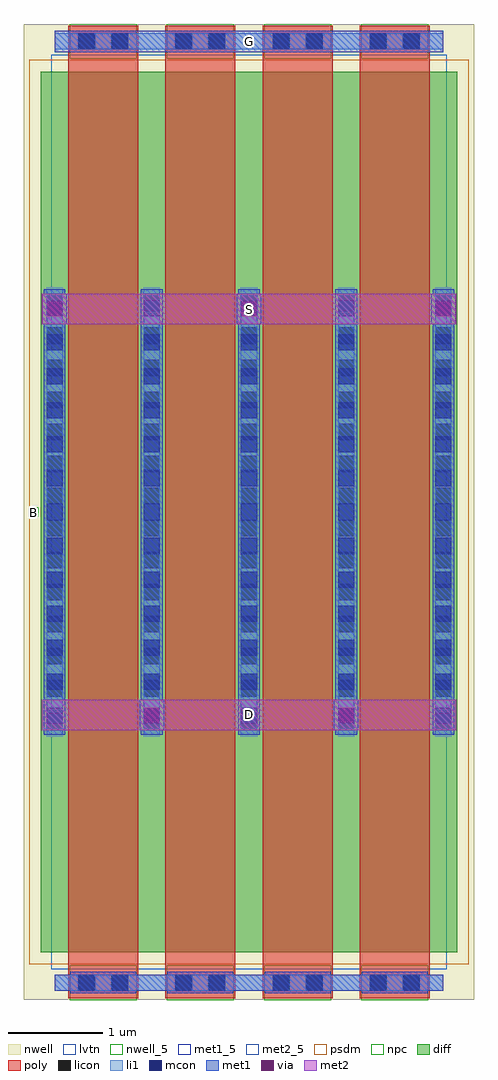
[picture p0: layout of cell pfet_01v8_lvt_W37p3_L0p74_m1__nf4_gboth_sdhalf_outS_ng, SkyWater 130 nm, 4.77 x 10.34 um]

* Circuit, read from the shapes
.subckt pfet_01v8_lvt_W37p3_L0p74_m1__nf4_gboth_sdhalf_outS_ng B D G S
XM1 D G S B sky130_fd_pr__pfet_01v8_lvt w=9.33 l=0.74 m=4
.ends

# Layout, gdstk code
import gdstk
lib = gdstk.Library(unit=1e-6, precision=1e-09)
def R(c, l, rs):  # rectangles x0, y0, x1, y1
    for r in rs: c.add(gdstk.rectangle(r[:2], r[2:], *l))
def A(c, l, x, y, w, h, nx, ny, dx, dy):  # array of equal rectangles
    R(c, l, [(x+i*dx, y+j*dy, x+i*dx+w, y+j*dy+h) for i in range(nx) for j in range(ny)])
nwell_5 = (64, 5)
nwell = (64, 20)
diff = (65, 20)
poly = (66, 20)
licon = (66, 44)
li1 = (67, 20)
mcon = (67, 44)
met1_5 = (68, 5)
met1 = (68, 20)
via = (68, 44)
met2_5 = (69, 5)
met2 = (69, 20)
psdm = (94, 20)
npc = (95, 20)
lvtn = (125, 44)

sky130_fd_pr__pfet_01v8_ = lib.new_cell('sky130_fd_pr__pfet_01v8_lvt_WKB96H')
R(sky130_fd_pr__pfet_01v8_, nwell, [(-2.385,-5.165,2.385,5.165)])
R(sky130_fd_pr__pfet_01v8_, diff, [(-2.205,-4.665,2.205,4.665)])
A(sky130_fd_pr__pfet_01v8_, poly, -1.915, -5.15, 0.74, 10.3, 4, 1, 1.03, 0)
A(sky130_fd_pr__pfet_01v8_, licon, -2.145, -2.295, 0.17, 0.17, 5, 14, 1.03, 0.34)
R(sky130_fd_pr__pfet_01v8_, licon, [(-1.8,-5.07,-1.63,-4.9), (-1.46,-5.07,-1.29,-4.9), (-0.77,-5.07,-0.6,-4.9), (-0.43,-5.07,-0.26,-4.9), (0.26,-5.07,0.43,-4.9), (0.6,-5.07,0.77,-4.9), (1.29,-5.07,1.46,-4.9), (1.63,-5.07,1.8,-4.9), (-1.8,4.9,-1.63,5.07), (-1.46,4.9,-1.29,5.07), (-0.77,4.9,-0.6,5.07), (-0.43,4.9,-0.26,5.07), (0.26,4.9,0.43,5.07), (0.6,4.9,0.77,5.07), (1.29,4.9,1.46,5.07), (1.63,4.9,1.8,5.07)])
A(sky130_fd_pr__pfet_01v8_, li1, -2.145, -2.38, 0.17, 4.76, 5, 1, 1.03, 0)
R(sky130_fd_pr__pfet_01v8_, li1, [(-2.06,-5.07,2.06,-4.9), (-2.06,4.9,2.06,5.07)])
A(sky130_fd_pr__pfet_01v8_, mcon, -2.145, -2.245, 0.17, 0.17, 5, 13, 1.03, 0.36)
R(sky130_fd_pr__pfet_01v8_, mcon, [(-1.81,-5.07,-1.64,-4.9), (-1.45,-5.07,-1.28,-4.9), (-0.78,-5.07,-0.61,-4.9), (-0.42,-5.07,-0.25,-4.9), (0.25,-5.07,0.42,-4.9), (0.61,-5.07,0.78,-4.9), (1.28,-5.07,1.45,-4.9), (1.64,-5.07,1.81,-4.9), (-1.81,4.9,-1.64,5.07), (-1.45,4.9,-1.28,5.07), (-0.78,4.9,-0.61,5.07), (-0.42,4.9,-0.25,5.07), (0.25,4.9,0.42,5.07), (0.61,4.9,0.78,5.07), (1.28,4.9,1.45,5.07), (1.64,4.9,1.81,5.07)])
A(sky130_fd_pr__pfet_01v8_, met1, -1.895, -5.1, 0.7, 0.03, 4, 2, 1.03, 0.2)
A(sky130_fd_pr__pfet_01v8_, met1, -2.175, -2.36, 0.23, 4.72, 5, 1, 1.03, 0)
A(sky130_fd_pr__pfet_01v8_, met1, -1.895, 4.87, 0.7, 0.03, 4, 2, 1.03, 0.2)
R(sky130_fd_pr__pfet_01v8_, met1, [(-2.06,-5.07,2.06,-4.9), (-2.06,4.9,2.06,5.07)])
R(sky130_fd_pr__pfet_01v8_, psdm, [(-2.33,-4.79,2.33,4.79)])
A(sky130_fd_pr__pfet_01v8_, npc, -1.9, -5.17, 0.71, 0.37, 4, 2, 1.03, 9.97)
R(sky130_fd_pr__pfet_01v8_, lvtn, [(-2.095,-4.845,2.095,4.845)])
sky130_fd_pr__pfet_01v8_.add(gdstk.Label('D0', (-2.06,0), layer=67, texttype=5))
sky130_fd_pr__pfet_01v8_.add(gdstk.Label('G', (1.545,4.985), layer=67, texttype=5))
sky130_fd_pr__pfet_01v8_.add(gdstk.Label('G', (0.515,4.985), layer=67, texttype=5))
sky130_fd_pr__pfet_01v8_.add(gdstk.Label('G', (-0.515,4.985), layer=67, texttype=5))
sky130_fd_pr__pfet_01v8_.add(gdstk.Label('G', (-1.545,4.985), layer=67, texttype=5))
sky130_fd_pr__pfet_01v8_.add(gdstk.Label('S1', (-1.03,0), layer=67, texttype=5))
sky130_fd_pr__pfet_01v8_.add(gdstk.Label('D2', (0,0), layer=67, texttype=5))
sky130_fd_pr__pfet_01v8_.add(gdstk.Label('S3', (1.03,0), layer=67, texttype=5))

pfet_01v8_lvt_w37p3_l0p7 = lib.new_cell('pfet_01v8_lvt_W37p3_L0p74_m1__nf4_gboth_sdhalf_outS_ng')
R(pfet_01v8_lvt_w37p3_l0p7, nwell_5, [(0.05,5.115,0.15,5.215)])
R(pfet_01v8_lvt_w37p3_l0p7, nwell, [(0.05,5.115,0.15,5.215)])
R(pfet_01v8_lvt_w37p3_l0p7, met1_5, [(0.325,10.035,4.445,10.265)])
A(pfet_01v8_lvt_w37p3_l0p7, met1, 0.195, 7.155, 0.26, 0.32, 3, 1, 2.06, 0)
R(pfet_01v8_lvt_w37p3_l0p7, met1, [(1.225,2.855,1.485,3.175), (3.285,2.855,3.545,3.175), (0.325,10.035,4.445,10.265)])
A(pfet_01v8_lvt_w37p3_l0p7, via, 0.25, 7.24, 0.15, 0.15, 3, 1, 2.06, 0)
R(pfet_01v8_lvt_w37p3_l0p7, via, [(1.28,2.94,1.43,3.09), (3.34,2.94,3.49,3.09)])
R(pfet_01v8_lvt_w37p3_l0p7, met2_5, [(0.19,2.855,4.58,3.175), (0.19,7.155,4.58,7.475)])
R(pfet_01v8_lvt_w37p3_l0p7, met2, [(0.19,2.855,4.58,3.175), (0.19,7.155,4.58,7.475)])
pfet_01v8_lvt_w37p3_l0p7.add(gdstk.Reference(sky130_fd_pr__pfet_01v8_, (2.385,5.165)))
pfet_01v8_lvt_w37p3_l0p7.add(gdstk.Label('S', (2.385,7.315), layer=69, texttype=5))
pfet_01v8_lvt_w37p3_l0p7.add(gdstk.Label('D', (2.385,3.015), layer=69, texttype=5))
pfet_01v8_lvt_w37p3_l0p7.add(gdstk.Label('G', (2.385,10.15), layer=68, texttype=5))
pfet_01v8_lvt_w37p3_l0p7.add(gdstk.Label('B', (0.1,5.165), layer=64, texttype=5))

lib.write_gds('pfet_01v8_lvt_W37p3_L0p74_m1__nf4_gboth_sdhalf_outS_ng.gds')
